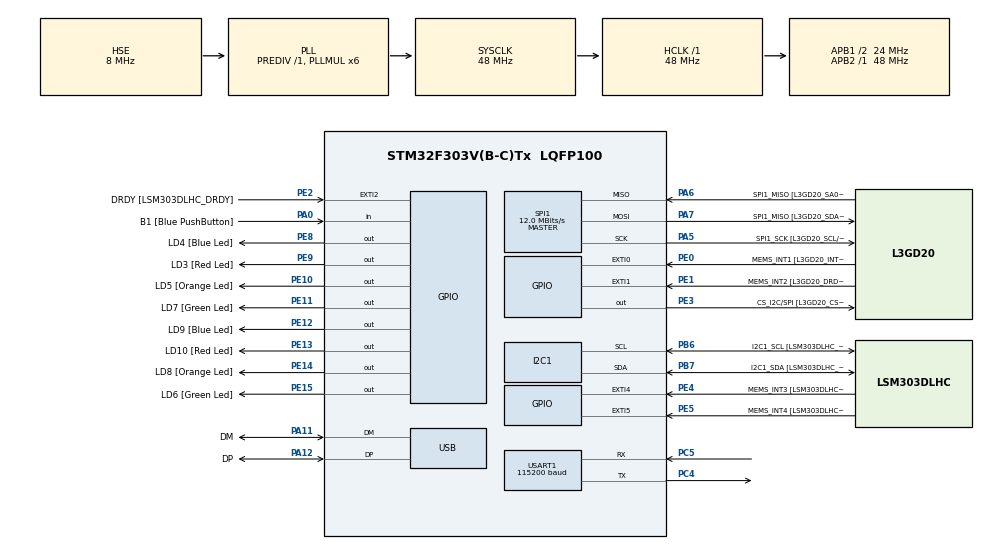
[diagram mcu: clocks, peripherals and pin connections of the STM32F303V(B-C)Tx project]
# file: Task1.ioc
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I2C1.Timing=0x00201D2B
I2C1.Timing-I2C=0x2000090E
Mcu.Family=STM32F3
Mcu.Name=STM32F303V(B-C)Tx
Mcu.Package=LQFP100
NVIC.PriorityGroup=NVIC_PRIORITYGROUP_0
NVIC.USB_LP_CAN_RX0_IRQn=true\:0\:0\:false\:false\:true\:false\:true\:true
PA0.GPIO_Label=B1 [Blue PushButton]
PA0.Signal=GPIO_Input
PA11.GPIO_Label=DM
PA11.Mode=Device
PA11.Signal=USB_DM
PA12.GPIO_Label=DP
PA12.Mode=Device
PA12.Signal=USB_DP
PA13.GPIO_Label=SWDIO
PA13.Mode=Serial_Wire
PA13.Signal=SYS_JTMS-SWDIO
PA14.GPIO_Label=SWCLK
PA14.Mode=Serial_Wire
PA14.Signal=SYS_JTCK-SWCLK
PA5.GPIO_Label=SPI1_SCK [L3GD20_SCL/SPC]
PA5.Mode=Full_Duplex_Master
PA5.Signal=SPI1_SCK
PA6.GPIO_Label=SPI1_MISO [L3GD20_SA0/SDO]
PA6.Mode=Full_Duplex_Master
PA6.Signal=SPI1_MISO
PA7.GPIO_Label=SPI1_MISO [L3GD20_SDA/SDI/SDO]
PA7.Mode=Full_Duplex_Master
PA7.Signal=SPI1_MOSI
PB3.GPIO_Label=SWO
PB3.Signal=SYS_JTDO-TRACESWO
PB6.GPIO_Label=I2C1_SCL [LSM303DLHC_SCL]
PB6.GPIO_Pu=GPIO_PULLUP
PB6.Mode=I2C
PB6.Signal=I2C1_SCL
PB7.GPIO_Label=I2C1_SDA [LSM303DLHC_SDA]
PB7.GPIO_Pu=GPIO_PULLUP
PB7.Mode=I2C
PB7.Signal=I2C1_SDA
PC14-OSC32_IN.GPIO_Label=OSC32_IN
PC14-OSC32_IN.Signal=RCC_OSC32_IN
PC15-OSC32_OUT.GPIO_Label=OSC32_OUT
PC15-OSC32_OUT.Signal=RCC_OSC32_OUT
PC4.Mode=Asynchronous
PC4.Signal=USART1_TX
PC5.Mode=Asynchronous
PC5.Signal=USART1_RX
PE0.GPIO_Label=MEMS_INT1 [L3GD20_INT1]
PE0.GPIO_ModeDefaultEXTI=GPIO_MODE_EVT_RISING
PE0.Signal=GPXTI0
PE1.GPIO_Label=MEMS_INT2 [L3GD20_DRDY/INT2]
PE1.GPIO_ModeDefaultEXTI=GPIO_MODE_EVT_RISING
PE1.Signal=GPXTI1
PE10.GPIO_Label=LD5 [Orange Led]
PE10.Signal=GPIO_Output
PE11.GPIO_Label=LD7 [Green Led]
PE11.Signal=GPIO_Output
PE12.GPIO_Label=LD9 [Blue Led]
PE12.Signal=GPIO_Output
PE13.GPIO_Label=LD10 [Red Led]
PE13.Signal=GPIO_Output
PE14.GPIO_Label=LD8 [Orange Led]
PE14.Signal=GPIO_Output
PE15.GPIO_Label=LD6 [Green Led]
PE15.Signal=GPIO_Output
PE2.GPIO_Label=DRDY [LSM303DLHC_DRDY]
PE2.GPIO_ModeDefaultEXTI=GPIO_MODE_EVT_RISING
PE2.Signal=GPXTI2
PE3.GPIO_Label=CS_I2C/SPI [L3GD20_CS_I2C/SPI]
PE3.Signal=GPIO_Output
PE4.GPIO_Label=MEMS_INT3 [LSM303DLHC_INT1]
PE4.GPIO_ModeDefaultEXTI=GPIO_MODE_EVT_RISING
PE4.Signal=GPXTI4
PE5.GPIO_Label=MEMS_INT4 [LSM303DLHC_INT2]
PE5.GPIO_ModeDefaultEXTI=GPIO_MODE_EVT_RISING
PE5.Signal=GPXTI5
PE8.GPIO_Label=LD4 [Blue Led]
PE8.Signal=GPIO_Output
PE9.GPIO_Label=LD3 [Red Led]
PE9.Signal=GPIO_Output
PF0-OSC_IN.GPIO_Label=OSC_IN
PF0-OSC_IN.Mode=HSE-External-Clock-Source
PF0-OSC_IN.Signal=RCC_OSC_IN
PF1-OSC_OUT.GPIO_Label=OSC_OUT
PF1-OSC_OUT.Signal=RCC_OSC_OUT
ProjectManager.HeapSize=0x200
ProjectManager.StackSize=0x400
ProjectManager.TargetToolchain=CMake
RCC.AHBFreq_Value=48000000
RCC.APB1CLKDivider=RCC_HCLK_DIV2
RCC.APB1Freq_Value=24000000
RCC.APB1TimFreq_Value=48000000
RCC.APB2Freq_Value=48000000
RCC.APB2TimFreq_Value=48000000
RCC.CortexFreq_Value=48000000
RCC.HCLKFreq_Value=48000000
RCC.HSE_VALUE=8000000
RCC.HSI_VALUE=8000000
RCC.LSE_VALUE=32768
RCC.PLLMUL=RCC_PLL_MUL6
RCC.SYSCLKFreq_VALUE=48000000
RCC.SYSCLKSourceVirtual=RCC_SYSCLKSOURCE_PLLCLK
RCC.USBFreq_Value=48000000
SPI1.BaudRatePrescaler=SPI_BAUDRATEPRESCALER_4
SPI1.BaudRatePrescaler-Full_Duplex_Master=SPI_BAUDRATEPRESCALER_2
SPI1.CLKPhase=SPI_PHASE_2EDGE
SPI1.CLKPolarity=SPI_POLARITY_HIGH
SPI1.CalculateBaudRate=12.0 MBits/s
SPI1.CalculateBaudRate-Full_Duplex_Master=24.0 MBits/s
SPI1.DataSize=SPI_DATASIZE_8BIT
SPI1.Direction=SPI_DIRECTION_2LINES
SPI1.Mode=SPI_MODE_MASTER
SPI1.Mode-Full_Duplex_Master=SPI_MODE_MASTER
SPI1.VirtualType=VM_MASTER
USART1.BaudRate=115200
USART1.VirtualMode-Asynchronous=VM_ASYNC
USB_DEVICE.CLASS_NAME_FS=CDC
USB_DEVICE.VirtualMode=Cdc
USB_DEVICE.VirtualModeFS=Cdc_FS
VP_USB_DEVICE_VS_USB_DEVICE_CDC_FS.Mode=CDC_FS
board=STM32F3DISCOVERY

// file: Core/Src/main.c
/* USER CODE BEGIN Header */
/**
  ******************************************************************************
  * @file           : main.c
  * @brief          : Main program body
  ******************************************************************************
  * @attention
  *
  * Copyright (c) 2026 STMicroelectronics.
  * All rights reserved.
  *
  * This software is licensed under terms that can be found in the LICENSE file
  * in the root directory of this software component.
  * If no LICENSE file comes with this software, it is provided AS-IS.
  *
  ******************************************************************************
  */
/* USER CODE END Header */
#include "main.h"
#include "stm32f3xx_hal.h"
#include "usb_device.h"

/* USER CODE BEGIN Includes */
#include <stdint.h>
#include <stdio.h>
#include <string.h>
/* USER CODE END Includes */

/* USER CODE BEGIN PTD */
typedef struct {
    int16_t raw_x;
    int16_t raw_y;
    int16_t raw_z;
    float scaled_x;
    float scaled_y;
    float scaled_z;
    float offset_x;
    float offset_y;
    float offset_z;
} LSM_Data;

typedef struct {
    float x_dps;
    float y_dps;
    float z_dps;
} Gyro_Data;
/* USER CODE END PTD */

I2C_HandleTypeDef hi2c1;

SPI_HandleTypeDef hspi1;

UART_HandleTypeDef huart1;

/* USER CODE BEGIN PV */
LSM_Data data;
Gyro_Data gyro_data;
/* USER CODE END PV */

void SystemClock_Config(void);
static void MX_GPIO_Init(void);
static void MX_I2C1_Init(void);
static void MX_SPI1_Init(void);
static void MX_USART1_UART_Init(void);
/* USER CODE BEGIN PFP */
void LSM_Init(void);
void Read_LSM(LSM_Data *data);
void Print_LSM(LSM_Data *data);
void LSM_Calibration(LSM_Data *data);
void Gyro_Init(void);
uint8_t Gyro_Read_Register(uint8_t reg_addr);
void Gyro_Read_XYZ(Gyro_Data *gyro);
void Gyro_Print(Gyro_Data *gyro);
/* USER CODE END PFP */

/* USER CODE BEGIN 0 */
void LSM_Init(void) {
    uint8_t data1 = 0x67;
    uint8_t data2 = 0x00;

    HAL_I2C_Mem_Write(&hi2c1, 0x32, 0x20, 1, &data1, 1, HAL_MAX_DELAY);
    HAL_Delay(10);

    HAL_I2C_Mem_Write(&hi2c1, 0x32, 0x23, 1, &data2, 1, HAL_MAX_DELAY);
    HAL_Delay(10);
}

void LSM_Read(LSM_Data *data) {
    uint8_t low_byte, high_byte;

    HAL_I2C_Mem_Read(&hi2c1, 0x19 << 1, 0x28, 1, &low_byte, 1, HAL_MAX_DELAY);
    HAL_I2C_Mem_Read(&hi2c1, 0x19 << 1, 0x29, 1, &high_byte, 1, HAL_MAX_DELAY);
    data->raw_x = (int16_t)((high_byte << 8) | low_byte);

    HAL_I2C_Mem_Read(&hi2c1, 0x19 << 1, 0x2A, 1, &low_byte, 1, HAL_MAX_DELAY);
    HAL_I2C_Mem_Read(&hi2c1, 0x19 << 1, 0x2B, 1, &high_byte, 1, HAL_MAX_DELAY);
    data->raw_y = (int16_t)((high_byte << 8) | low_byte);

    HAL_I2C_Mem_Read(&hi2c1, 0x19 << 1, 0x2C, 1, &low_byte, 1, HAL_MAX_DELAY);
    HAL_I2C_Mem_Read(&hi2c1, 0x19 << 1, 0x2D, 1, &high_byte, 1, HAL_MAX_DELAY);
    data->raw_z = (int16_t)((high_byte << 8) | low_byte);

    data->scaled_x = (data->raw_x * 3.9f / 1000.0f) - data->offset_x;
    data->scaled_y = (data->raw_y * 3.9f / 1000.0f) - data->offset_y;
    data->scaled_z = (data->raw_z * 3.9f / 1000.0f) - data->offset_z;
}

void LSM_Print(LSM_Data *data) {
    char buffer[64];
    sprintf(buffer, "Accel: %.2f,%.2f,%.2f\r\n", data->scaled_x, data->scaled_y, data->scaled_z);
    HAL_UART_Transmit(&huart1, (uint8_t*)buffer, strlen(buffer), HAL_MAX_DELAY);
}

void LSM_Calibration(LSM_Data *data) {
    float sum_x = 0.0f, sum_y = 0.0f, sum_z = 0.0f;
    uint8_t low_byte, high_byte;
    int16_t raw_x, raw_y, raw_z;

    for (int i = 0; i < 20; i++) {
        HAL_I2C_Mem_Read(&hi2c1, 0x19 << 1, 0x28, 1, &low_byte, 1, HAL_MAX_DELAY);
        HAL_I2C_Mem_Read(&hi2c1, 0x19 << 1, 0x29, 1, &high_byte, 1, HAL_MAX_DELAY);
        raw_x = (int16_t)((high_byte << 8) | low_byte);

        HAL_I2C_Mem_Read(&hi2c1, 0x19 << 1, 0x2A, 1, &low_byte, 1, HAL_MAX_DELAY);
        HAL_I2C_Mem_Read(&hi2c1, 0x19 << 1, 0x2B, 1, &high_byte, 1, HAL_MAX_DELAY);
        raw_y = (int16_t)((high_byte << 8) | low_byte);

        HAL_I2C_Mem_Read(&hi2c1, 0x19 << 1, 0x2C, 1, &low_byte, 1, HAL_MAX_DELAY);
        HAL_I2C_Mem_Read(&hi2c1, 0x19 << 1, 0x2D, 1, &high_byte, 1, HAL_MAX_DELAY);
        raw_z = (int16_t)((high_byte << 8) | low_byte);

        sum_x += (raw_x * 3.9f / 1000.0f);
        sum_y += (raw_y * 3.9f / 1000.0f);
        sum_z += (raw_z * 3.9f / 1000.0f);
    }

    data->offset_x = sum_x / 20.0f;
    data->offset_y = sum_y / 20.0f;
    data->offset_z = sum_z / 20.0f;
}

void Gyro_Init(void) {
    uint8_t tx[2] = {0x20, 0x0F};
    HAL_GPIO_WritePin(GPIOE, GPIO_PIN_3, GPIO_PIN_RESET);
    HAL_SPI_Transmit(&hspi1, tx, 2, HAL_MAX_DELAY);
    HAL_GPIO_WritePin(GPIOE, GPIO_PIN_3, GPIO_PIN_SET);
}

uint8_t Gyro_Read_Register(uint8_t reg_addr) {
    uint8_t tx = reg_addr | 0x80;
    uint8_t rx = 0;

    HAL_GPIO_WritePin(GPIOE, GPIO_PIN_3, GPIO_PIN_RESET);
    HAL_SPI_Transmit(&hspi1, &tx, 1, HAL_MAX_DELAY);
    HAL_SPI_Receive(&hspi1, &rx, 1, HAL_MAX_DELAY);
    HAL_GPIO_WritePin(GPIOE, GPIO_PIN_3, GPIO_PIN_SET);

    return rx;
}

void Gyro_Read_XYZ(Gyro_Data *gyro) {
    uint8_t x_l = Gyro_Read_Register(0x28);
    uint8_t x_h = Gyro_Read_Register(0x29);
    uint8_t y_l = Gyro_Read_Register(0x2A);
    uint8_t y_h = Gyro_Read_Register(0x2B);
    uint8_t z_l = Gyro_Read_Register(0x2C);
    uint8_t z_h = Gyro_Read_Register(0x2D);

    int16_t x = (int16_t)((x_h << 8) | x_l);
    int16_t y = (int16_t)((y_h << 8) | y_l);
    int16_t z = (int16_t)((z_h << 8) | z_l);

    gyro->x_dps = x * 0.00875f;
    gyro->y_dps = y * 0.00875f;
    gyro->z_dps = z * 0.00875f;
}

void Gyro_Print(Gyro_Data *gyro) {
    char buffer[64];
    sprintf(buffer, "Gyro: %.3f,%.3f,%.3f\r\n\n", gyro->x_dps, gyro->y_dps, gyro->z_dps);
    HAL_UART_Transmit(&huart1, (uint8_t*)buffer, strlen(buffer), HAL_MAX_DELAY);
}
/* USER CODE END 0 */

int main(void)
{

  /* MCU Configuration--------------------------------------------------------*/

  /* Reset of all peripherals, Initializes the Flash interface and the Systick. */
  HAL_Init();

  /* Configure the system clock */
  SystemClock_Config();

  /* Initialize all configured peripherals */
  MX_GPIO_Init();
  MX_I2C1_Init();
  MX_SPI1_Init();
  MX_USART1_UART_Init();
  MX_USB_DEVICE_Init();
  /* USER CODE BEGIN 2 */
  LSM_Init();
  LSM_Calibration(&data);
  Gyro_Init();
  HAL_Delay(100);

  /* USER CODE END 2 */

  /* Infinite loop */
  while (1)
  {

    /* USER CODE BEGIN 3 */
    LSM_Read(&data);
    Gyro_Read_XYZ(&gyro_data);

    LSM_Print(&data);
    Gyro_Print(&gyro_data);

    HAL_Delay(50);
  }
  /* USER CODE END 3 */
}

void SystemClock_Config(void)
{
  RCC_OscInitTypeDef RCC_OscInitStruct = {0};
  RCC_ClkInitTypeDef RCC_ClkInitStruct = {0};
  RCC_PeriphCLKInitTypeDef PeriphClkInit = {0};

  /** Initializes the RCC Oscillators according to the specified parameters
  * in the RCC_OscInitTypeDef structure.
  */
  RCC_OscInitStruct.OscillatorType = RCC_OSCILLATORTYPE_HSI|RCC_OSCILLATORTYPE_HSE;
  RCC_OscInitStruct.HSEState = RCC_HSE_BYPASS;
  RCC_OscInitStruct.HSEPredivValue = RCC_HSE_PREDIV_DIV1;
  RCC_OscInitStruct.HSIState = RCC_HSI_ON;
  RCC_OscInitStruct.HSICalibrationValue = RCC_HSICALIBRATION_DEFAULT;
  RCC_OscInitStruct.PLL.PLLState = RCC_PLL_ON;
  RCC_OscInitStruct.PLL.PLLSource = RCC_PLLSOURCE_HSE;
  RCC_OscInitStruct.PLL.PLLMUL = RCC_PLL_MUL6;
  if (HAL_RCC_OscConfig(&RCC_OscInitStruct) != HAL_OK)
  {
    Error_Handler();
  }

  /** Initializes the CPU, AHB and APB buses clocks
  */
  RCC_ClkInitStruct.ClockType = RCC_CLOCKTYPE_HCLK|RCC_CLOCKTYPE_SYSCLK
                              |RCC_CLOCKTYPE_PCLK1|RCC_CLOCKTYPE_PCLK2;
  RCC_ClkInitStruct.SYSCLKSource = RCC_SYSCLKSOURCE_PLLCLK;
  RCC_ClkInitStruct.AHBCLKDivider = RCC_SYSCLK_DIV1;
  RCC_ClkInitStruct.APB1CLKDivider = RCC_HCLK_DIV2;
  RCC_ClkInitStruct.APB2CLKDivider = RCC_HCLK_DIV1;

  if (HAL_RCC_ClockConfig(&RCC_ClkInitStruct, FLASH_LATENCY_1) != HAL_OK)
  {
    Error_Handler();
  }
  PeriphClkInit.PeriphClockSelection = RCC_PERIPHCLK_USB|RCC_PERIPHCLK_USART1
                              |RCC_PERIPHCLK_I2C1;
  PeriphClkInit.Usart1ClockSelection = RCC_USART1CLKSOURCE_PCLK2;
  PeriphClkInit.I2c1ClockSelection = RCC_I2C1CLKSOURCE_HSI;
  PeriphClkInit.USBClockSelection = RCC_USBCLKSOURCE_PLL;
  if (HAL_RCCEx_PeriphCLKConfig(&PeriphClkInit) != HAL_OK)
  {
    Error_Handler();
  }
}

static void MX_I2C1_Init(void)
{

  hi2c1.Instance = I2C1;
  hi2c1.Init.Timing = 0x00201D2B;
  hi2c1.Init.OwnAddress1 = 0;
  hi2c1.Init.AddressingMode = I2C_ADDRESSINGMODE_7BIT;
  hi2c1.Init.DualAddressMode = I2C_DUALADDRESS_DISABLE;
  hi2c1.Init.OwnAddress2 = 0;
  hi2c1.Init.OwnAddress2Masks = I2C_OA2_NOMASK;
  hi2c1.Init.GeneralCallMode = I2C_GENERALCALL_DISABLE;
  hi2c1.Init.NoStretchMode = I2C_NOSTRETCH_DISABLE;
  if (HAL_I2C_Init(&hi2c1) != HAL_OK)
  {
    Error_Handler();
  }

  /** Configure Analogue filter
  */
  if (HAL_I2CEx_ConfigAnalogFilter(&hi2c1, I2C_ANALOGFILTER_ENABLE) != HAL_OK)
  {
    Error_Handler();
  }

  /** Configure Digital filter
  */
  if (HAL_I2CEx_ConfigDigitalFilter(&hi2c1, 0) != HAL_OK)
  {
    Error_Handler();
  }

}

static void MX_SPI1_Init(void)
{

  /* SPI1 parameter configuration*/
  hspi1.Instance = SPI1;
  hspi1.Init.Mode = SPI_MODE_MASTER;
  hspi1.Init.Direction = SPI_DIRECTION_2LINES;
  hspi1.Init.DataSize = SPI_DATASIZE_8BIT;
  hspi1.Init.CLKPolarity = SPI_POLARITY_HIGH;
  hspi1.Init.CLKPhase = SPI_PHASE_2EDGE;
  hspi1.Init.NSS = SPI_NSS_SOFT;
  hspi1.Init.BaudRatePrescaler = SPI_BAUDRATEPRESCALER_4;
  hspi1.Init.FirstBit = SPI_FIRSTBIT_MSB;
  hspi1.Init.TIMode = SPI_TIMODE_DISABLE;
  hspi1.Init.CRCCalculation = SPI_CRCCALCULATION_DISABLE;
  hspi1.Init.CRCPolynomial = 7;
  hspi1.Init.CRCLength = SPI_CRC_LENGTH_DATASIZE;
  hspi1.Init.NSSPMode = SPI_NSS_PULSE_DISABLE;
  if (HAL_SPI_Init(&hspi1) != HAL_OK)
  {
    Error_Handler();
  }

}

static void MX_USART1_UART_Init(void)
{

  huart1.Instance = USART1;
  huart1.Init.BaudRate = 115200;
  huart1.Init.WordLength = UART_WORDLENGTH_8B;
  huart1.Init.StopBits = UART_STOPBITS_1;
  huart1.Init.Parity = UART_PARITY_NONE;
  huart1.Init.Mode = UART_MODE_TX_RX;
  huart1.Init.HwFlowCtl = UART_HWCONTROL_NONE;
  huart1.Init.OverSampling = UART_OVERSAMPLING_16;
  huart1.Init.OneBitSampling = UART_ONE_BIT_SAMPLE_DISABLE;
  huart1.AdvancedInit.AdvFeatureInit = UART_ADVFEATURE_NO_INIT;
  if (HAL_UART_Init(&huart1) != HAL_OK)
  {
    Error_Handler();
  }

}

static void MX_GPIO_Init(void)
{
  GPIO_InitTypeDef GPIO_InitStruct = {0};

  /* GPIO Ports Clock Enable */
  __HAL_RCC_GPIOE_CLK_ENABLE();
  __HAL_RCC_GPIOC_CLK_ENABLE();
  __HAL_RCC_GPIOF_CLK_ENABLE();
  __HAL_RCC_GPIOA_CLK_ENABLE();
  __HAL_RCC_GPIOB_CLK_ENABLE();

  /*Configure GPIO pin Output Level */
  HAL_GPIO_WritePin(GPIOE, CS_I2C_SPI_Pin|LD4_Pin|LD3_Pin|LD5_Pin
                          |LD7_Pin|LD9_Pin|LD10_Pin|LD8_Pin
                          |LD6_Pin, GPIO_PIN_RESET);

  /*Configure GPIO pins : DRDY_Pin MEMS_INT3_Pin MEMS_INT4_Pin MEMS_INT1_Pin
                           MEMS_INT2_Pin */
  GPIO_InitStruct.Pin = DRDY_Pin|MEMS_INT3_Pin|MEMS_INT4_Pin|MEMS_INT1_Pin
                          |MEMS_INT2_Pin;
  GPIO_InitStruct.Mode = GPIO_MODE_EVT_RISING;
  GPIO_InitStruct.Pull = GPIO_NOPULL;
  HAL_GPIO_Init(GPIOE, &GPIO_InitStruct);

  /*Configure GPIO pins : CS_I2C_SPI_Pin LD4_Pin LD3_Pin LD5_Pin
                           LD7_Pin LD9_Pin LD10_Pin LD8_Pin
                           LD6_Pin */
  GPIO_InitStruct.Pin = CS_I2C_SPI_Pin|LD4_Pin|LD3_Pin|LD5_Pin
                          |LD7_Pin|LD9_Pin|LD10_Pin|LD8_Pin
                          |LD6_Pin;
  GPIO_InitStruct.Mode = GPIO_MODE_OUTPUT_PP;
  GPIO_InitStruct.Pull = GPIO_NOPULL;
  GPIO_InitStruct.Speed = GPIO_SPEED_FREQ_LOW;
  HAL_GPIO_Init(GPIOE, &GPIO_InitStruct);

  /*Configure GPIO pin : B1_Pin */
  GPIO_InitStruct.Pin = B1_Pin;
  GPIO_InitStruct.Mode = GPIO_MODE_INPUT;
  GPIO_InitStruct.Pull = GPIO_NOPULL;
  HAL_GPIO_Init(B1_GPIO_Port, &GPIO_InitStruct);

}

void Error_Handler(void)
{
  __disable_irq();
  while (1)
  {
  }
}
